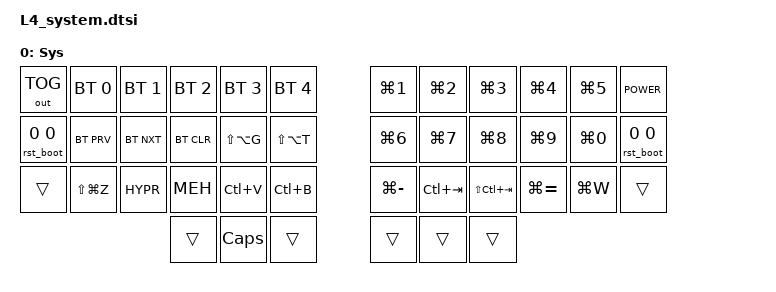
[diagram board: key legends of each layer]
/**
 * System and Bluetooth Layer
 * Dedicated to system controls, bluetooth, and app launcher shortcuts
 */

/ {
  keymap {
    compatible = "zmk,keymap";

    system_layer {
      display-name = "Sys";
      bindings = <
// ╭───────────────┬───────────────┬───────────────┬───────────────┬───────────────┬───────────────╮   ╭───────────────┬───────────────┬───────────────┬───────────────┬───────────────┬───────────────╮
// │0              │1              │2              │3              │4              │5              │   │6              │7              │8              │9              │10             │11             │
    &out OUT_TOG    &bt BT_SEL 0    &bt BT_SEL 1    &bt BT_SEL 2    &bt BT_SEL 3    &bt BT_SEL 4        &kp LG(1)       &kp LG(2)       &kp LG(3)       &kp LG(4)       &kp LG(5)       &kp C_POWER
// ├───────────────├───────────────┼───────────────┼───────────────┼───────────────┼───────────────┤   ├───────────────├───────────────┼───────────────┼───────────────┼───────────────┼───────────────┤
// │12             │13             │14             │15             │16             │17             │   │18             │19             │20             │21             │22             │23             │
    &rst_boot 0 0   &bt BT_PRV      &bt BT_NXT      &bt BT_CLR      &kp LS(LA(G))   &kp LS(LA(T))       &kp LG(6)       &kp LG(7)       &kp LG(8)       &kp LG(9)       &kp LG(0)       &rst_boot 0 0
// ├───────────────├───────────────┼───────────────┼───────────────┼───────────────┼───────────────┤   ├───────────────├───────────────┼───────────────┼───────────────┼───────────────┼───────────────┤
// │24             │25             │26             │27             │28             │29             │   │30             │31             │32             │33             │34             │35             │
    &trans          &kp LS(LG(Z))   &kp HYPR        &kp MEH         &kp LC(V)       &kp LC(B)            &kp LG(MINUS)   &kp LC(TAB)     &kp LS(LC(TAB)) &kp LG(EQUAL)   &kp LG(W)       &trans
// ╰───────────────┴───────────────┴───────────────┼───────────────┼───────────────┼───────────────┤   ├───────────────├───────────────┼───────────────┼───────────────┴───────────────┴───────────────╯
//                                                 │36             │37             │38             │   │39             │40             │41             │
                                                    &trans          &kp CAPSLOCK    &trans              &trans          &trans          &trans
//                                                 ╰───────────────┴───────────────┴───────────────╯   ╰───────────────┴───────────────┴───────────────╯
      >;
    };
  };
};
